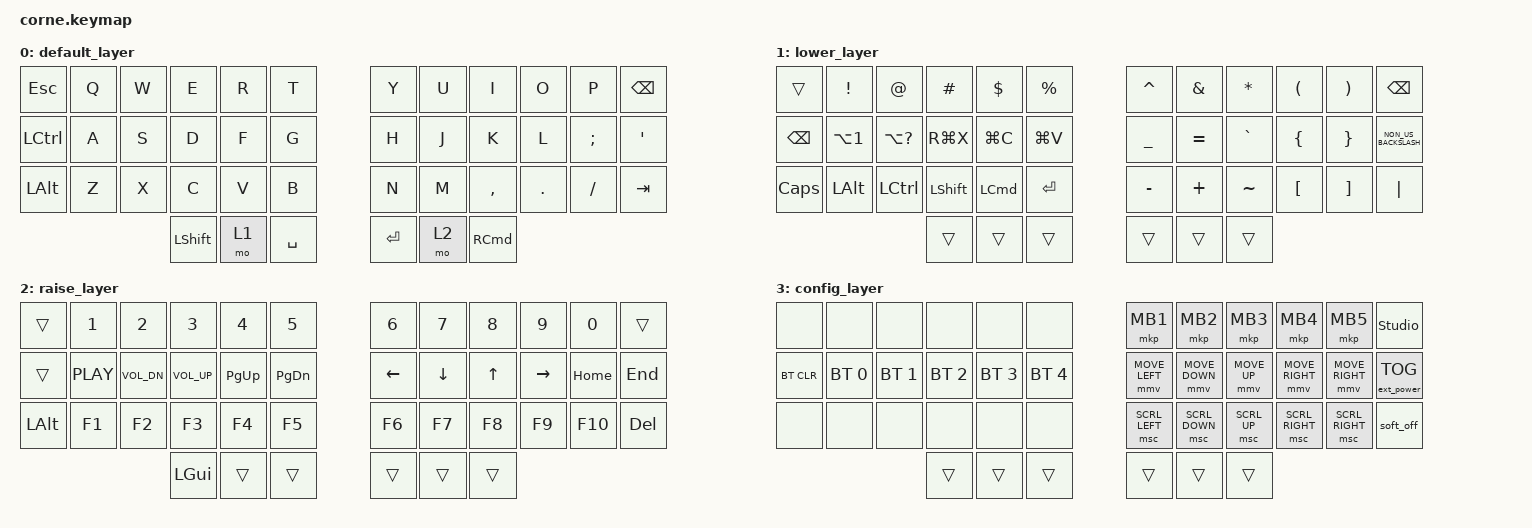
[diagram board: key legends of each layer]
/*
 * Copyright (c) 2020 The ZMK Contributors
 *
 * SPDX-License-Identifier: MIT
 */

#include <behaviors.dtsi>
#include <dt-bindings/zmk/bt.h>
#include <dt-bindings/zmk/ext_power.h>
#include <dt-bindings/zmk/keys.h>
#include <dt-bindings/zmk/pointing.h>
#include <dt-bindings/zmk/pointing.h>
#include <dt-bindings/zmk/pointing.h>

/ {
    combos { compatible = "zmk,combos"; };

    macros {
        open_terminal: open_terminal {
            compatible = "zmk,behavior-macro";
            #binding-cells = <0>;
            bindings = <&kp RG(SPACE) &kp I &kp T &kp E &kp R &kp M &kp ENTER>;
            label = "OPEN_TERMINAL";
        };
    };

    keymap {
        compatible = "zmk,keymap";

        default_layer {
            // -----------------------------------------------------------------------------------------
            // |  TAB |  Q  |  W  |  E  |  R  |  T  |   |  Y  |  U   |  I  |  O  |  P  | BSPC |
            // | CTRL |  A  |  S  |  D  |  F  |  G  |   |  H  |  J   |  K  |  L  |  ;  |  '   |
            // | SHFT |  Z  |  X  |  C  |  V  |  B  |   |  N  |  M   |  ,  |  .  |  /  | ESC  |
            //                    | GUI | LWR | SPC |   | ENT | RSE  | ALT |

            bindings = <
&kp ESC       &kp Q  &kp W  &kp E           &kp R  &kp T        &kp Y    &kp U  &kp I      &kp O    &kp P     &kp BSPC
&kp LCTRL     &kp A  &kp S  &kp D           &kp F  &kp G        &kp H    &kp J  &kp K      &kp L    &kp SEMI  &kp SQT
&kp LEFT_ALT  &kp Z  &kp X  &kp C           &kp V  &kp B        &kp N    &kp M  &kp COMMA  &kp DOT  &kp FSLH  &kp TAB
                            &kp LEFT_SHIFT  &mo 1  &kp SPACE    &kp RET  &mo 2  &kp RCMD
            >;
        };

        lower_layer {
            // -----------------------------------------------------------------------------------------
            // |  TAB |  1  |  2  |  3  |  4  |  5  |   |  6  |  7  |  8  |  9  |  0  | BSPC |
            // | BTCLR| BT1 | BT2 | BT3 | BT4 | BT5 |   | LFT | DWN |  UP | RGT |     |      |
            // | SHFT |     |     |     |     |     |   |     |     |     |     |     |      |
            //                    | GUI |     | SPC |   | ENT |     | ALT |

            bindings = <
&trans         &kp EXCLAMATION   &kp AT_SIGN       &kp POUND  &kp DOLLAR  &kp PERCENT    &kp CARET       &kp AMPERSAND  &kp ASTERISK  &kp LEFT_PARENTHESIS  &kp RIGHT_PARENTHESIS  &kp BSPC
&kp BACKSPACE  &kp LA(NUMBER_1)  &kp LA(QUESTION)  &kp RG(X)  &kp LG(C)   &kp LG(V)      &kp UNDERSCORE  &kp EQUAL      &kp GRAVE     &kp LEFT_BRACE        &kp RIGHT_BRACE        &kp NON_US_BACKSLASH
&kp CAPS       &kp LALT          &kp LCTRL         &kp LSHFT  &kp LCMD    &kp ENTER      &kp MINUS       &kp PLUS       &kp TILDE     &kp LEFT_BRACKET      &kp RIGHT_BRACKET      &kp PIPE
                                                   &trans     &trans      &trans         &trans          &trans         &trans
            >;
        };

        raise_layer {
            // -----------------------------------------------------------------------------------------
            // |  TAB |  !  |  @  |  #  |  $  |  %  |   |  ^  |  &  |  *  |  (  |  )  | BSPC |
            // | CTRL |     |     |     |     |     |   |  -  |  =  |  [  |  ]  |  \  |  `   |
            // | SHFT |     |     |     |     |     |   |  _  |  +  |  {  |  }  | "|" |  ~   |
            //                    | GUI |     | SPC |   | ENT |     | ALT |

            bindings = <
&trans    &kp N1      &kp N2        &kp N3           &kp N4     &kp N5           &kp N6    &kp N7    &kp N8  &kp N9     &kp N0    &trans
&trans    &kp C_PLAY  &kp C_VOL_DN  &kp C_VOLUME_UP  &kp PG_UP  &kp PAGE_DOWN    &kp LEFT  &kp DOWN  &kp UP  &kp RIGHT  &kp HOME  &kp END
&kp LALT  &kp F1      &kp F2        &kp F3           &kp F4     &kp F5           &kp F6    &kp F7    &kp F8  &kp F9     &kp F10   &kp DEL
                                    &kp LGUI         &trans     &trans           &trans    &trans    &trans
            >;
        };

        config_layer {
            bindings = <
&none       &none         &none         &none         &none         &none           &mkp MB1        &mkp MB2        &mkp MB3      &mkp MB4         &mkp MB5         &studio_unlock
&bt BT_CLR  &bt BT_SEL 0  &bt BT_SEL 1  &bt BT_SEL 2  &bt BT_SEL 3  &bt BT_SEL 4    &mmv MOVE_LEFT  &mmv MOVE_DOWN  &mmv MOVE_UP  &mmv MOVE_RIGHT  &mmv MOVE_RIGHT  &ext_power EP_TOG
&none       &none         &none         &none         &none         &none           &msc SCRL_LEFT  &msc SCRL_DOWN  &msc SCRL_UP  &msc SCRL_RIGHT  &msc SCRL_RIGHT  &soft_off
                                        &trans        &trans        &trans          &trans          &trans          &trans
            >;
        };
    };

    conditional_layers {
        compatible = "zmk,conditional-layers";

        config_layer {
            if-layers = <1 2>;
            then-layer = <3>;
        };
    };
};
